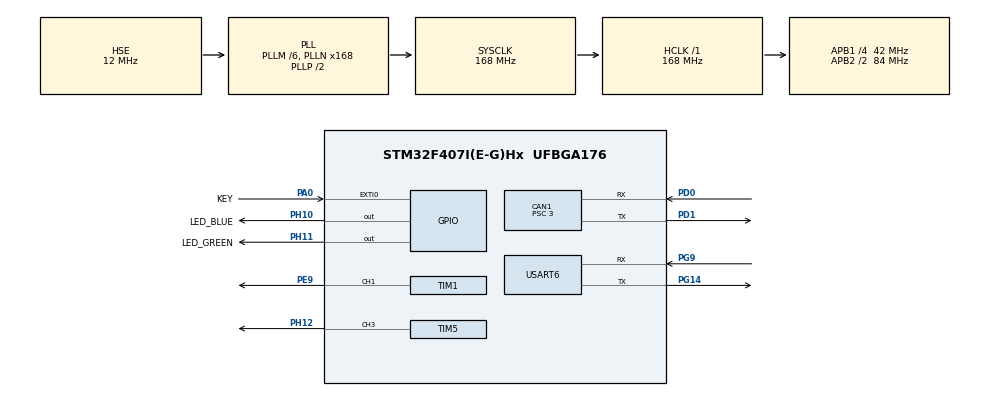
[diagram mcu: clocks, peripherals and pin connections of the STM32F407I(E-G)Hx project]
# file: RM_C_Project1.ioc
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CAN1.ABOM=ENABLE
CAN1.BS1=CAN_BS1_11TQ
CAN1.BS2=CAN_BS2_2TQ
CAN1.CalculateBaudRate=1000000
CAN1.CalculateTimeBit=1000
CAN1.CalculateTimeQuantum=71.42857142857143
CAN1.Prescaler=3
Dma.Request0=USART6_RX
Dma.USART6_RX.0.Direction=DMA_PERIPH_TO_MEMORY
Dma.USART6_RX.0.FIFOMode=DMA_FIFOMODE_DISABLE
Dma.USART6_RX.0.Instance=DMA2_Stream1
Dma.USART6_RX.0.MemDataAlignment=DMA_MDATAALIGN_BYTE
Dma.USART6_RX.0.MemInc=DMA_MINC_ENABLE
Dma.USART6_RX.0.Mode=DMA_NORMAL
Dma.USART6_RX.0.PeriphDataAlignment=DMA_PDATAALIGN_BYTE
Dma.USART6_RX.0.PeriphInc=DMA_PINC_DISABLE
Dma.USART6_RX.0.Priority=DMA_PRIORITY_LOW
FREERTOS.Queues01=UartQueue,4,UartMsg_t,0,Dynamic,NULL,NULL;MotorQueue,4,float,0,Dynamic,NULL,NULL;FeedbackQueue,4,float,0,Dynamic,NULL,NULL
FREERTOS.Tasks01=MotorTask,33,256,StartMotorTask,Default,NULL,Dynamic,NULL,NULL;UartTask,25,512,StartUartTask,Default,NULL,Dynamic,NULL,NULL;ServoTask,25,128,StartServoTask,Default,NULL,Dynamic,NULL,NULL;LedTask,16,128,StartLedTask,Default,NULL,Dynamic,NULL,NULL
FREERTOS.configUSE_NEWLIB_REENTRANT=1
Mcu.Family=STM32F4
Mcu.Name=STM32F407I(E-G)Hx
Mcu.Package=UFBGA176
NVIC.CAN1_RX0_IRQn=true\:5\:0\:false\:false\:true\:true\:true\:true\:true
NVIC.DMA2_Stream1_IRQn=true\:5\:0\:false\:false\:true\:true\:false\:true\:true
NVIC.EXTI0_IRQn=true\:5\:0\:false\:false\:true\:true\:true\:true\:true
NVIC.PriorityGroup=NVIC_PRIORITYGROUP_4
NVIC.TIM1_UP_TIM10_IRQn=true\:5\:0\:false\:false\:true\:true\:true\:true\:true
NVIC.TIM4_IRQn=true\:15\:0\:false\:false\:true\:false\:false\:true\:true
NVIC.TimeBase=TIM4_IRQn
NVIC.TimeBaseIP=TIM4
NVIC.USART6_IRQn=true\:5\:0\:false\:false\:true\:true\:true\:true\:true
PA0-WKUP.GPIO_Label=KEY
PA0-WKUP.GPIO_ModeDefaultEXTI=GPIO_MODE_IT_FALLING
PA0-WKUP.GPIO_PuPd=GPIO_PULLUP
PA0-WKUP.Signal=GPXTI0
PA13.Mode=Serial_Wire
PA13.Signal=SYS_JTMS-SWDIO
PA14.Mode=Serial_Wire
PA14.Signal=SYS_JTCK-SWCLK
PD0.Mode=CAN_Activate
PD0.Signal=CAN1_RX
PD1.Mode=CAN_Activate
PD1.Signal=CAN1_TX
PE9.Signal=S_TIM1_CH1
PG14.Mode=Asynchronous
PG14.Signal=USART6_TX
PG9.Mode=Asynchronous
PG9.Signal=USART6_RX
PH0-OSC_IN.Mode=HSE-External-Oscillator
PH0-OSC_IN.Signal=RCC_OSC_IN
PH1-OSC_OUT.Mode=HSE-External-Oscillator
PH1-OSC_OUT.Signal=RCC_OSC_OUT
PH10.GPIO_Label=LED_BLUE
PH10.Signal=GPIO_Output
PH11.GPIO_Label=LED_GREEN
PH11.Signal=GPIO_Output
PH12.Signal=S_TIM5_CH3
ProjectManager.HeapSize=0x200
ProjectManager.StackSize=0x400
ProjectManager.TargetToolchain=STM32CubeIDE
RCC.48MHZClocksFreq_Value=84000000
RCC.AHBFreq_Value=168000000
RCC.APB1CLKDivider=RCC_HCLK_DIV4
RCC.APB1Freq_Value=42000000
RCC.APB1TimFreq_Value=84000000
RCC.APB2CLKDivider=RCC_HCLK_DIV2
RCC.APB2Freq_Value=84000000
RCC.APB2TimFreq_Value=168000000
RCC.CortexFreq_Value=168000000
RCC.HCLKFreq_Value=168000000
RCC.HSE_VALUE=12000000
RCC.HSI_VALUE=16000000
RCC.LSE_VALUE=32768
RCC.PLLM=6
RCC.PLLN=168
RCC.PLLSourceVirtual=RCC_PLLSOURCE_HSE
RCC.SYSCLKFreq_VALUE=168000000
RCC.SYSCLKSource=RCC_SYSCLKSOURCE_PLLCLK
RCC.VCOOutputFreq_Value=336000000
SH.S_TIM1_CH1.0=TIM1_CH1,PWM Generation1 CH1
SH.S_TIM5_CH3.0=TIM5_CH3,PWM Generation3 CH3
TIM1.Channel-PWM\ Generation1\ CH1=TIM_CHANNEL_1
TIM1.Period=19999
TIM1.Prescaler=167
TIM5.Channel-PWM\ Generation3\ CH3=TIM_CHANNEL_3
TIM5.Period=999
TIM5.Prescaler=83
USART6.VirtualMode=VM_ASYNC
VP_FREERTOS_VS_CMSIS_V2.Mode=CMSIS_V2
VP_SYS_VS_tim4.Mode=TIM4
VP_TIM1_VS_ClockSourceINT.Mode=Internal
VP_TIM5_VS_ClockSourceINT.Mode=Internal
board=custom

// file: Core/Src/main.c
/* USER CODE BEGIN Header */
/**
  ******************************************************************************
  * @file           : main.c
  * @brief          : Main program body
  ******************************************************************************
  * @attention
  *
  * Copyright (c) 2026 STMicroelectronics.
  * All rights reserved.
  *
  * This software is licensed under terms that can be found in the LICENSE file
  * in the root directory of this software component.
  * If no LICENSE file comes with this software, it is provided AS-IS.
  *
  ******************************************************************************
  */
/* USER CODE END Header */
#include "main.h"
#include "cmsis_os.h"
#include "can.h"
#include "dma.h"
#include "tim.h"
#include "usart.h"
#include "gpio.h"

/* USER CODE BEGIN Includes */
#include "gm6020.h"
/* USER CODE END Includes */

/* USER CODE BEGIN PTD */
#define MOTOR_ID_1 0x205 //当前控制的电机ID为205
/* USER CODE END PTD */

/* USER CODE BEGIN PV */

/*初始化can传输的参数*/
volatile uint32_t can_rx_id =0;
volatile uint8_t can_rx_data[8] = {0};
volatile uint8_t can_rx_dlc =0;
volatile uint32_t can_rx_count = 0;

/* USER CODE END PV */

void SystemClock_Config(void);
void MX_FREERTOS_Init(void);
/* USER CODE BEGIN PFP */
void CAN_Filter_Init(void);
/* USER CODE END PFP */

int main(void)
{

  /* MCU Configuration--------------------------------------------------------*/

  /* Reset of all peripherals, Initializes the Flash interface and the Systick. */
  HAL_Init();

  /* Configure the system clock */
  SystemClock_Config();

  /* Initialize all configured peripherals */
  MX_GPIO_Init();
  MX_DMA_Init();
  MX_TIM1_Init();
  MX_CAN1_Init();
  MX_TIM5_Init();
  MX_USART6_UART_Init();
  /* USER CODE BEGIN 2 */
  HAL_TIM_PWM_Start(&htim5, TIM_CHANNEL_3);
  CAN_Filter_Init(); //初始化can过滤器函数
  if (HAL_CAN_Start(&hcan1) != HAL_OK) {
    Error_Handler();
  }
  if (HAL_CAN_ActivateNotification(&hcan1,
    CAN_IT_RX_FIFO0_MSG_PENDING)!= HAL_OK) {
    Error_Handler();
  }
  /* USER CODE END 2 */

  /* Init scheduler */
  osKernelInitialize();  /* Call init function for freertos objects (in cmsis_os2.c) */
  MX_FREERTOS_Init();

  /* Start scheduler */
  osKernelStart();

  /* We should never get here as control is now taken by the scheduler */

  /* Infinite loop */
  while (1)
  {

  }
}

void SystemClock_Config(void)
{
  RCC_OscInitTypeDef RCC_OscInitStruct = {0};
  RCC_ClkInitTypeDef RCC_ClkInitStruct = {0};

  /** Configure the main internal regulator output voltage
  */
  __HAL_RCC_PWR_CLK_ENABLE();
  __HAL_PWR_VOLTAGESCALING_CONFIG(PWR_REGULATOR_VOLTAGE_SCALE1);

  /** Initializes the RCC Oscillators according to the specified parameters
  * in the RCC_OscInitTypeDef structure.
  */
  RCC_OscInitStruct.OscillatorType = RCC_OSCILLATORTYPE_HSE;
  RCC_OscInitStruct.HSEState = RCC_HSE_ON;
  RCC_OscInitStruct.PLL.PLLState = RCC_PLL_ON;
  RCC_OscInitStruct.PLL.PLLSource = RCC_PLLSOURCE_HSE;
  RCC_OscInitStruct.PLL.PLLM = 6;
  RCC_OscInitStruct.PLL.PLLN = 168;
  RCC_OscInitStruct.PLL.PLLP = RCC_PLLP_DIV2;
  RCC_OscInitStruct.PLL.PLLQ = 4;
  if (HAL_RCC_OscConfig(&RCC_OscInitStruct) != HAL_OK)
  {
    Error_Handler();
  }

  /** Initializes the CPU, AHB and APB buses clocks
  */
  RCC_ClkInitStruct.ClockType = RCC_CLOCKTYPE_HCLK|RCC_CLOCKTYPE_SYSCLK
                              |RCC_CLOCKTYPE_PCLK1|RCC_CLOCKTYPE_PCLK2;
  RCC_ClkInitStruct.SYSCLKSource = RCC_SYSCLKSOURCE_PLLCLK;
  RCC_ClkInitStruct.AHBCLKDivider = RCC_SYSCLK_DIV1;
  RCC_ClkInitStruct.APB1CLKDivider = RCC_HCLK_DIV4;
  RCC_ClkInitStruct.APB2CLKDivider = RCC_HCLK_DIV2;

  if (HAL_RCC_ClockConfig(&RCC_ClkInitStruct, FLASH_LATENCY_5) != HAL_OK)
  {
    Error_Handler();
  }
}

/* USER CODE BEGIN 4 */
void CAN_Filter_Init(void) {
  CAN_FilterTypeDef can_filter;
  can_filter.FilterBank=0;
  can_filter.FilterMode = CAN_FILTERMODE_IDMASK;
  can_filter.FilterScale = CAN_FILTERSCALE_32BIT;
  can_filter.FilterIdHigh = 0x0000;
  can_filter.FilterIdLow = 0x0000;

  can_filter.FilterMaskIdHigh = 0x0000;
  can_filter.FilterMaskIdLow = 0x0000;

  can_filter.FilterFIFOAssignment = CAN_RX_FIFO0;

  can_filter.FilterActivation = ENABLE;
  can_filter.SlaveStartFilterBank = 14;
  if (HAL_CAN_ConfigFilter(&hcan1, &can_filter) != HAL_OK) {
    Error_Handler();
  }
}
void HAL_CAN_RxFifo0MsgPendingCallback(CAN_HandleTypeDef *hcan) {
  CAN_RxHeaderTypeDef RxHeader;
  uint8_t RxData[8];

  if (hcan->Instance == CAN1) {
    while (HAL_CAN_GetRxFifoFillLevel(hcan, CAN_RX_FIFO0)>0) {
      if (HAL_CAN_GetRxMessage(hcan, CAN_RX_FIFO0, &RxHeader, RxData) != HAL_OK) {
        break;
      }
      if (RxHeader.IDE == CAN_ID_STD && RxHeader.RTR == CAN_RTR_DATA &&
           RxHeader.StdId == MOTOR_ID_1 && RxHeader.DLC == 8){
        can_rx_id = RxHeader.StdId;
        can_rx_dlc = RxHeader.DLC;

        for (uint8_t i = 0; i < 8; i++)
        {
          can_rx_data[i] = RxData[i];
        }
        GM6020_Decode(RxData);
        can_rx_count++;
           }
    }
  }
}

/* USER CODE END 4 */

void HAL_TIM_PeriodElapsedCallback(TIM_HandleTypeDef *htim)
{
  if (htim->Instance == TIM4)
  {
    HAL_IncTick();
  }
}

void Error_Handler(void)
{
  __disable_irq();
  while (1)
  {
  }
}

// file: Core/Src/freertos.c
/* USER CODE BEGIN Header */
/**
  ******************************************************************************
  * File Name          : freertos.c
  * Description        : Code for freertos applications
  ******************************************************************************
  * @attention
  *
  * Copyright (c) 2026 STMicroelectronics.
  * All rights reserved.
  *
  * This software is licensed under terms that can be found in the LICENSE file
  * in the root directory of this software component.
  * If no LICENSE file comes with this software, it is provided AS-IS.
  *
  ******************************************************************************
  */
/* USER CODE END Header */

#include "FreeRTOS.h"
#include "task.h"
#include "main.h"
#include "cmsis_os.h"

/* USER CODE BEGIN Includes */
#include <stdio.h>

#include "gm6020.h"
#include "pid.h"
#include "usart.h"
#include "string.h"
#include "tim.h"
/* USER CODE END Includes */

/* USER CODE BEGIN PTD */

/*PID参数宏定义*/
#define KP 66.0f
#define KI 66.0f
#define KD 0.013f
#define OUTPUT_MAX 15000.0f
#define INTEGRATOR_MAX 10000.0f

/* USER CODE END PTD */

/* USER CODE BEGIN Variables */
PID_t speed_pid;
/*电机变量初始化*/
volatile float target_speed_rpm = 0.0f; //
volatile int16_t motor_voltage=0;
volatile uint8_t motor_online =0;
/*CAN传输初始化*/
volatile uint8_t can_tx_ok = 0;
/*Uart初始化*/
static uint8_t rx_buffer[32];
/*舵机变量初始化*/
int angle = 0;               // 当前目标角度
int step = 20;                // 每次改变的角度
/*按键软件消抖 时间量初始化*/
uint32_t last_key_tick = 0;

/* USER CODE END Variables */
/* Definitions for MotorTask */
osThreadId_t MotorTaskHandle;
const osThreadAttr_t MotorTask_attributes = {
  .name = "MotorTask",
  .stack_size = 256 * 4,
  .priority = (osPriority_t) osPriorityAboveNormal1,
};
/* Definitions for UartTask */
osThreadId_t UartTaskHandle;
const osThreadAttr_t UartTask_attributes = {
  .name = "UartTask",
  .stack_size = 512 * 4,
  .priority = (osPriority_t) osPriorityNormal1,
};
/* Definitions for ServoTask */
osThreadId_t ServoTaskHandle;
const osThreadAttr_t ServoTask_attributes = {
  .name = "ServoTask",
  .stack_size = 128 * 4,
  .priority = (osPriority_t) osPriorityNormal1,
};
/* Definitions for LedTask */
osThreadId_t LedTaskHandle;
const osThreadAttr_t LedTask_attributes = {
  .name = "LedTask",
  .stack_size = 128 * 4,
  .priority = (osPriority_t) osPriorityBelowNormal,
};
/* Definitions for UartQueue */
osMessageQueueId_t UartQueueHandle;
const osMessageQueueAttr_t UartQueue_attributes = {
  .name = "UartQueue"
};
/* Definitions for MotorQueue */
osMessageQueueId_t MotorQueueHandle;
const osMessageQueueAttr_t MotorQueue_attributes = {
  .name = "MotorQueue"
};
/* Definitions for FeedbackQueue */
osMessageQueueId_t FeedbackQueueHandle;
const osMessageQueueAttr_t FeedbackQueue_attributes = {
  .name = "FeedbackQueue"
};

void StartMotorTask(void *argument);
void StartUartTask(void *argument);
void StartServoTask(void *argument);
void StartLedTask(void *argument);

void MX_FREERTOS_Init(void); /* (MISRA C 2004 rule 8.1) */

void MX_FREERTOS_Init(void) {

  /* Create the queue(s) */
  /* creation of UartQueue */
  UartQueueHandle = osMessageQueueNew (4, sizeof(UartMsg_t), &UartQueue_attributes);

  /* creation of MotorQueue */
  MotorQueueHandle = osMessageQueueNew (4, sizeof(float), &MotorQueue_attributes);

  /* creation of FeedbackQueue */
  FeedbackQueueHandle = osMessageQueueNew (4, sizeof(float), &FeedbackQueue_attributes);

  /* Create the thread(s) */
  /* creation of MotorTask */
  MotorTaskHandle = osThreadNew(StartMotorTask, NULL, &MotorTask_attributes);

  /* creation of UartTask */
  UartTaskHandle = osThreadNew(StartUartTask, NULL, &UartTask_attributes);

  /* creation of ServoTask */
  ServoTaskHandle = osThreadNew(StartServoTask, NULL, &ServoTask_attributes);

  /* creation of LedTask */
  LedTaskHandle = osThreadNew(StartLedTask, NULL, &LedTask_attributes);

}

void StartMotorTask(void *argument)
{
  /* USER CODE BEGIN StartMotorTask */
  PID_Init(&speed_pid, KP, KI, KD,
      OUTPUT_MAX,INTEGRATOR_MAX);

  /*计时相关*/
  uint32_t wake_tick = osKernelGetTickCount();
  uint32_t last_tick = wake_tick;
  uint32_t  clock_tick = osKernelGetTickCount();
  uint32_t clock_last_tick = clock_tick;
  /* Infinite loop */
  for(;;)
  {
    wake_tick += 10;
    osDelayUntil(wake_tick); //固定任务周期

    uint32_t now = osKernelGetTickCount();
    uint32_t now2 = osKernelGetTickCount();
    float dt = (now - last_tick)
    / (float)osKernelGetTickFreq(); //两次记录tick的时间差值除以每秒的tick数 得到响应时间（单位s）
    last_tick = now;

    float new_speed_rpm;
    while (osMessageQueueGet(MotorQueueHandle,
      &new_speed_rpm,NULL,0)==osOK) {
      target_speed_rpm = new_speed_rpm;
    }

    motor_online=GM6020_IsOnline();
    if (motor_online && target_speed_rpm != 0.0f) {
      speed_pid.target = target_speed_rpm;
      speed_pid.feedback = motor_speed;
      motor_voltage = (int16_t)PID_Calc(&speed_pid,dt);
      if (now2 - clock_last_tick > 2000) {
      osMessageQueuePut(FeedbackQueueHandle,&speed_pid.feedback,0,0); //每2s放入反馈速度
        clock_last_tick = now2;
      }
    }else {
      PID_Reset(&speed_pid);
      motor_voltage = 0;
    }

    can_tx_ok = GM6020_SendVoltage(motor_voltage);

  }
  /* USER CODE END StartMotorTask */
}

void StartUartTask(void *argument)
{
  /* USER CODE BEGIN StartUartTask */
  UartMsg_t message={0};
  if (HAL_UARTEx_ReceiveToIdle_DMA(&huart6,rx_buffer,
      sizeof(rx_buffer)) != HAL_OK) {
      Error_Handler();
      }
  __HAL_DMA_DISABLE_IT(huart6.hdmarx, DMA_IT_HT);//关闭DMA过半中断
  /* Infinite loop */
  for(;;)
  { float speed_feedback_rpm;
    if (osMessageQueueGet(UartQueueHandle,&message
      ,NULL,10) == osOK) {
      float speed_rpm;
    if (strcmp(message.text,"motor+100")==0) {
      speed_rpm = 100.0f;
    }else if (strcmp(message.text,"motor0")==0) {
      speed_rpm = 0.0f;
    }else {
      continue;
    }

      osMessageQueuePut(MotorQueueHandle, &speed_rpm, 0, 0); //将收到的串口指令速度放入队列

    }
    if (osMessageQueueGet(FeedbackQueueHandle, &speed_feedback_rpm, NULL, 0) == osOK){
      char text[32];
      int length = snprintf(text, sizeof(text), "speed:%d rpm\r\n",// 格式化传递过来的字符串
                            (int)speed_feedback_rpm);
      HAL_UART_Transmit(&huart6, (uint8_t *)text, length, 100);
    }
  }
  /* USER CODE END StartUartTask */
}

void StartServoTask(void *argument)
{
  /* USER CODE BEGIN StartServoTask */
  /* Infinite loop */
  __HAL_TIM_SET_COMPARE(&htim1, TIM_CHANNEL_1,
                      500 + angle * 2000 / 180);
  HAL_TIM_PWM_Start(&htim1, TIM_CHANNEL_1);
  for(;;)
  {
    osDelay(1);
  }
  /* USER CODE END StartServoTask */
}

void StartLedTask(void *argument)
{
  /* USER CODE BEGIN StartLedTask */
  /* Infinite loop */
  for(;;) {
    motor_online=GM6020_IsOnline();
    if (motor_online!=0) { //电机在线就亮绿灯
      __HAL_TIM_SET_COMPARE(&htim5, TIM_CHANNEL_3,0);
      HAL_GPIO_WritePin(LED_GREEN_GPIO_Port, LED_GREEN_Pin, GPIO_PIN_SET);
    }

    if (motor_online == 0) { //离线的时候就灭灯亮呼吸灯
      HAL_GPIO_WritePin(LED_GREEN_GPIO_Port, LED_GREEN_Pin, GPIO_PIN_RESET);
      static int brightness=0;
      static int step=10;
      brightness+=step;
      if (brightness>=1000) step=-10;
      if (brightness<=0) step=10;
      __HAL_TIM_SET_COMPARE(&htim5, TIM_CHANNEL_3, brightness);
    }osDelay(10);
  }
  /* USER CODE END StartLedTask */
}

/* USER CODE BEGIN Application */
void HAL_UARTEx_RxEventCallback(UART_HandleTypeDef *huart, uint16_t Size) {
  if (huart->Instance != USART6) {
    return;
  }
  if (HAL_UARTEx_GetRxEventType(huart) == HAL_UART_RXEVENT_HT) {
    return;
  }
  UartMsg_t message={0};

  if (Size>0&&Size<sizeof(message.text)) {
    memcpy(message.text,rx_buffer,Size);
    message.text[Size]='\0';

    osMessageQueuePut(UartQueueHandle, &message, 0,0);
  }

  if (HAL_UARTEx_ReceiveToIdle_DMA(&huart6,
    rx_buffer,sizeof(rx_buffer)) == HAL_OK) {
    __HAL_DMA_DISABLE_IT(huart6.hdmarx, DMA_IT_HT);
  }
}
void HAL_GPIO_EXTI_Callback(uint16_t GPIO_Pin) //按下按键 中断中实现舵机控制
{
  if (GPIO_Pin == KEY_Pin)
  {
    uint32_t now = HAL_GetTick();
    if (now - last_key_tick > 200) {//按键消抖
      last_key_tick = now;
      angle += step;
      if (angle >= 180)
        step = -20;
      if (angle <= 0)
        step = 20;
      __HAL_TIM_SET_COMPARE(&htim1, TIM_CHANNEL_1,
      500 + angle * 2000 / 180);
    }
  }
}
/* USER CODE END Application */
